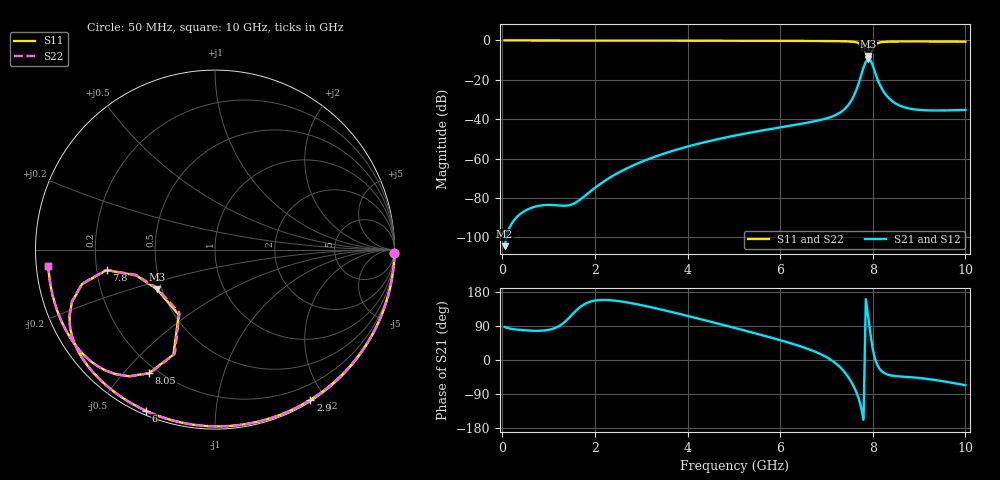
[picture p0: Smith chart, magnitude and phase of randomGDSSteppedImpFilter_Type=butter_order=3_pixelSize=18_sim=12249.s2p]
! freq	dB(S11)	phase(S11)	dB(S12)	phase(S12)
!  dB(S21)	phase(S21)	dB(S22)	phase(S22)
!S-par simulation data
#  GHz  S  DB  R 50
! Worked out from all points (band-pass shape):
!   200 points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, 50 MHz to 10 GHz, reference 50 ohm
!   highest |S21| = -9.56 dB at 7.9 GHz (marker M1); lowest = -104.5 dB at 50 MHz (marker M2)
!   |S21| within 3 dB of the highest: 7.82 GHz to 7.998 GHz (177.9 MHz wide, 2.25 % of centre)
!   lowest |S11| = -8.1 dB at 7.9 GHz (marker M3), VSWR 2.29, Z = 23.5 - j12.2 ohm
!   |S11| at or under -10 dB: nowhere
!   |S22| runs from -8.2 to 0.0 dB; largest |S21 - S12| = 0
!   S11 on the Smith chart (normalised r, x): 50 MHz: open; 2.9 GHz: 0.02, -1.82; 6 GHz: 0.02, -0.66; 7.8 GHz: 0.24, -0.09; 8.05 GHz: 0.17, -0.59; 10 GHz: 0.03, -0.05
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0.05  -0.00 -1.0  -104.48 87.2  -104.48 87.2  -0.00 -1.0
1.75  -0.04 -35.3  -79.56 145.6  -79.56 145.6  -0.04 -35.4
2.25  -0.06 -45.1  -70.72 158.3  -70.72 158.3  -0.06 -45.1
2.9  -0.07 -57.6  -62.70 147.3  -62.70 147.3  -0.07 -57.6
3.4  -0.09 -66.9  -58.19 134.0  -58.19 134.0  -0.09 -67.0
5.05  -0.15 -96.6  -48.18 83.7  -48.18 83.7  -0.15 -96.7
6  -0.20 -113.3  -44.15 52.3  -44.15 52.3  -0.20 -113.3
6.7  -0.26 -126.1  -41.24 24.6  -41.24 24.6  -0.26 -126.1
7.15  -0.33 -135.5  -38.36 -4.1  -38.36 -4.1  -0.33 -135.6
7.4  -0.43 -142.5  -34.65 -33.6  -34.65 -33.6  -0.43 -142.6
7.6  -0.75 -151.6  -27.65 -72.5  -27.65 -72.5  -0.75 -151.7
7.7  -1.42 -159.9  -21.49 -103.1  -21.49 -103.1  -1.41 -159.9
7.8  -4.23 -169.3  -13.71 -157.8  -13.71 -157.8  -4.18 -169.4
7.85  -6.72 -161.8  -10.84 160.7  -10.84 160.7  -6.65 -162.5
7.9  -8.14 -145.8  -9.56 115.6  -9.56 115.6  -8.20 -147.1
7.95  -7.63 -119.1  -9.99 68.9  -9.99 68.9  -7.86 -119.3
8  -4.02 -111.6  -12.68 28.3  -12.68 28.3  -4.12 -111.1
8.05  -2.15 -118.1  -16.29 1.9  -16.29 1.9  -2.18 -117.7
8.2  -0.83 -132.3  -24.64 -30.3  -24.64 -30.3  -0.83 -132.2
8.35  -0.60 -139.3  -29.35 -39.6  -29.35 -39.6  -0.60 -139.3
8.85  -0.50 -152.5  -34.83 -45.7  -34.83 -45.7  -0.50 -152.5
10  -0.60 -174.4  -35.27 -66.5  -35.27 -66.5  -0.60 -174.4
